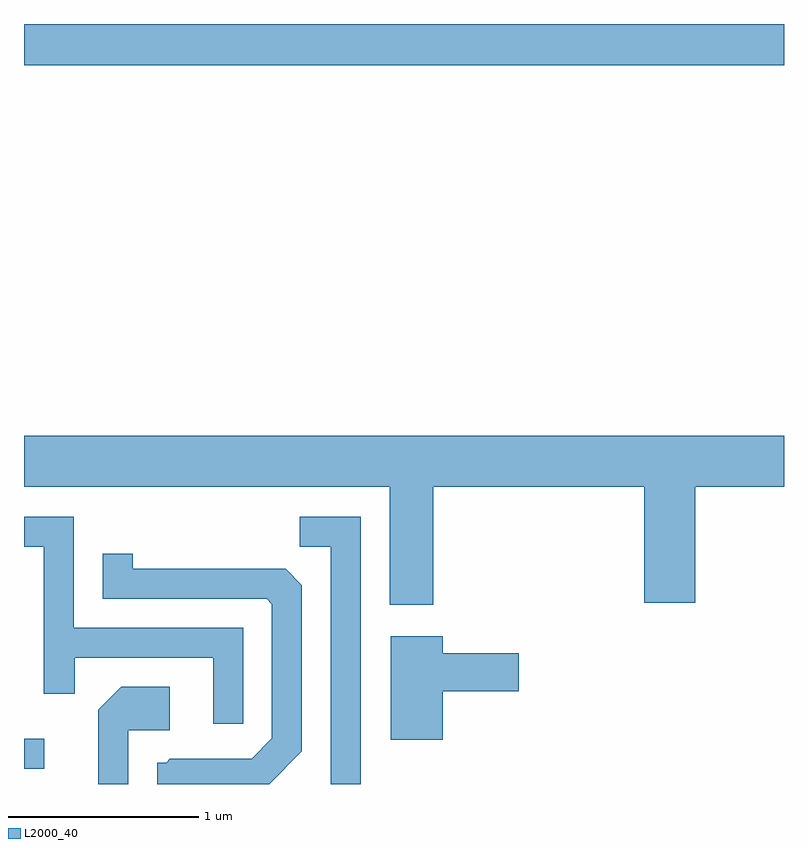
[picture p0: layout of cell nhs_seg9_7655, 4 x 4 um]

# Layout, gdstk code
import gdstk
lib = gdstk.Library(unit=1e-6, precision=1e-09)
def R(c, l, rs):  # rectangles x0, y0, x1, y1
    for r in rs: c.add(gdstk.rectangle(r[:2], r[2:], *l))
def P(c, l, *ps):  # polygons
    for p in ps: c.add(gdstk.Polygon(p, *l))
L2000_40 = (2000, 40)

nhs_seg9_7655 = lib.new_cell('nhs_seg9_7655')
R(nhs_seg9_7655, L2000_40, [(411.611,2032.511,411.718,2032.669), (411.611,2036.216,415.611,2036.432)])
P(nhs_seg9_7655, L2000_40, [(413.764,2033.996),(414.876,2033.996),(414.876,2033.386),(415.144,2033.386),(415.144,2033.996),(415.611,2033.996),(415.611,2034.264),(411.611,2034.264),(411.611,2033.996),(413.536,2033.996),(413.536,2033.376),(413.764,2033.376)],
  [(412.764,2033.254),(411.874,2033.254),(411.874,2033.839),(411.611,2033.839),(411.611,2033.681),(411.716,2033.681),(411.716,2032.908),(411.879,2032.908),(411.879,2033.096),(412.606,2033.096),(412.606,2032.748),(412.764,2032.748)],
  [(413.384,2033.839),(413.063,2033.839),(413.063,2033.681),(413.226,2033.681),(413.226,2032.432),(413.384,2032.432)],
  [(413.074,2032.604),(413.074,2033.479),(412.989,2033.564),(412.184,2033.564),(412.184,2033.643),(412.026,2033.643),(412.026,2033.406),(412.889,2033.406),(412.916,2033.379),(412.916,2032.672),(412.809,2032.564),(412.379,2032.564),(412.359,2032.544),(412.311,2032.544),(412.311,2032.432),(412.903,2032.432)],
  [(413.814,2032.921),(414.214,2032.921),(414.214,2033.119),(413.814,2033.119),(413.814,2033.209),(413.541,2033.209),(413.541,2032.666),(413.814,2032.666)],
  [(412.159,2032.716),(412.379,2032.716),(412.379,2032.944),(412.124,2032.944),(412.001,2032.822),(412.001,2032.432),(412.159,2032.432)])

lib.write_gds('nhs_seg9_7655.gds')
